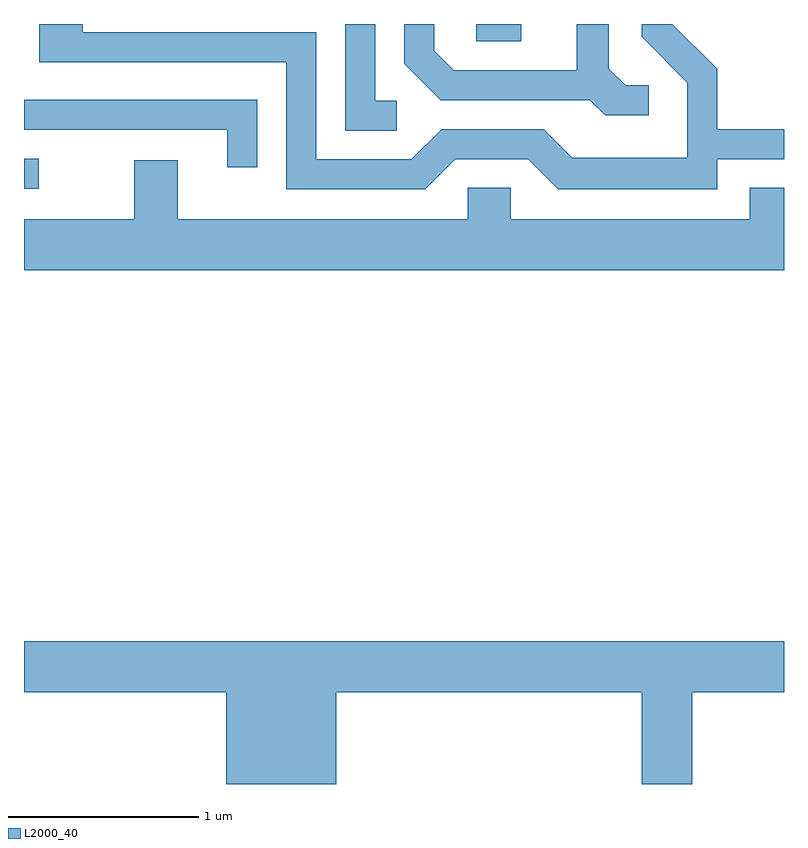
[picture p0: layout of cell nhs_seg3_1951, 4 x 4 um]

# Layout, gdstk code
import gdstk
lib = gdstk.Library(unit=1e-6, precision=1e-09)
def R(c, l, rs):  # rectangles x0, y0, x1, y1
    for r in rs: c.add(gdstk.rectangle(r[:2], r[2:], *l))
def P(c, l, *ps):  # polygons
    for p in ps: c.add(gdstk.Polygon(p, *l))
L2000_40 = (2000, 40)

nhs_seg3_1951 = lib.new_cell('nhs_seg3_1951')
R(nhs_seg3_1951, L2000_40, [(241.611,1213.026,241.688,1213.184), (243.991,1213.801,244.229,1213.892)])
P(nhs_seg3_1951, L2000_40, [(243.882,1213.181),(244.264,1213.181),(244.424,1213.021),(245.259,1213.021),(245.259,1213.181),(245.611,1213.181),(245.611,1213.339),(245.259,1213.339),(245.259,1213.657),(245.024,1213.892),(244.861,1213.892),(244.861,1213.824),(245.101,1213.584),(245.101,1213.189),(244.497,1213.189),(244.347,1213.339),(243.809,1213.339),(243.649,1213.179),(243.149,1213.179),(243.149,1213.849),(241.919,1213.849),(241.919,1213.892),(241.691,1213.892),(241.691,1213.691),(242.991,1213.691),(242.991,1213.021),(243.722,1213.021)],
  [(243.573,1213.489),(243.459,1213.489),(243.459,1213.892),(243.301,1213.892),(243.301,1213.331),(243.573,1213.331)],
  [(244.898,1213.569),(244.777,1213.569),(244.689,1213.657),(244.689,1213.892),(244.521,1213.892),(244.521,1213.649),(243.872,1213.649),(243.769,1213.752),(243.769,1213.892),(243.611,1213.892),(243.611,1213.684),(243.804,1213.491),(244.589,1213.491),(244.669,1213.411),(244.898,1213.411)],
  [(242.839,1213.494),(241.611,1213.494),(241.611,1213.336),(242.681,1213.336),(242.681,1213.138),(242.839,1213.138)],
  [(245.611,1213.029),(245.431,1213.029),(245.431,1212.864),(244.174,1212.864),(244.174,1213.029),(243.946,1213.029),(243.946,1212.864),(242.419,1212.864),(242.419,1213.174),(242.191,1213.174),(242.191,1212.864),(241.611,1212.864),(241.611,1212.596),(245.611,1212.596)],
  [(243.254,1210.376),(244.861,1210.376),(244.861,1209.892),(245.129,1209.892),(245.129,1210.376),(245.611,1210.376),(245.611,1210.644),(241.611,1210.644),(241.611,1210.376),(242.676,1210.376),(242.676,1209.892),(243.254,1209.892)])

lib.write_gds('nhs_seg3_1951.gds')
